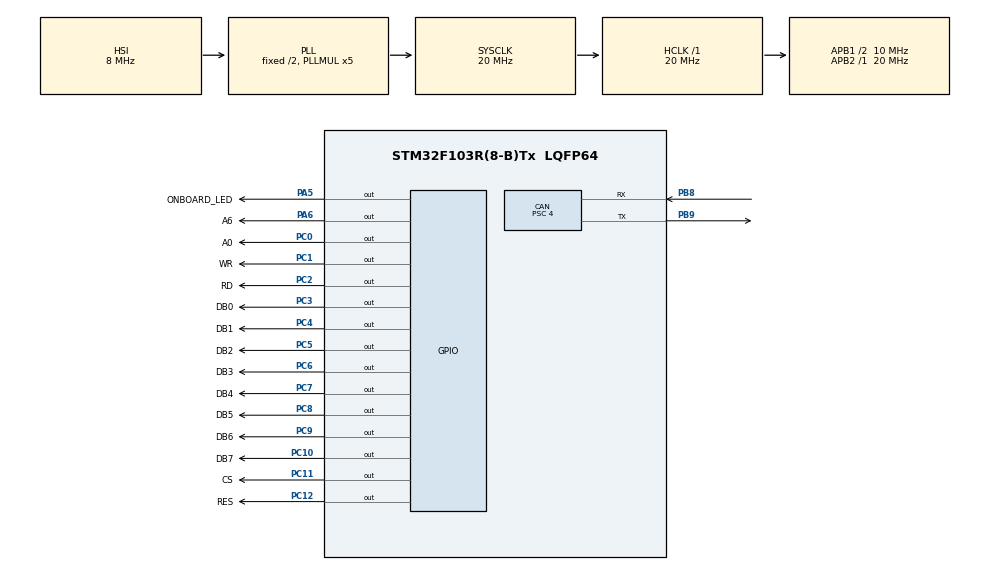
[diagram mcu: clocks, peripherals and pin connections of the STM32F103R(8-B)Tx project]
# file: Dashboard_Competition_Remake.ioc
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CAN.BS1=CAN_BS1_13TQ
CAN.BS2=CAN_BS2_2TQ
CAN.CalculateBaudRate=156250
CAN.CalculateTimeBit=6400
CAN.CalculateTimeQuantum=400.0
CAN.Prescaler=4
Mcu.Family=STM32F1
Mcu.Name=STM32F103R(8-B)Tx
Mcu.Package=LQFP64
NVIC.PriorityGroup=NVIC_PRIORITYGROUP_4
NVIC.TIM2_IRQn=true\:0\:0\:false\:false\:true\:true\:true\:true
NVIC.USB_LP_CAN1_RX0_IRQn=true\:0\:0\:false\:false\:true\:true\:true\:true
PA13.Mode=Serial_Wire
PA13.Signal=SYS_JTMS-SWDIO
PA14.Mode=Serial_Wire
PA14.Signal=SYS_JTCK-SWCLK
PA5.GPIO_Label=ONBOARD_LED
PA5.Signal=GPIO_Output
PA6.GPIO_Label=A6
PA6.Signal=GPIO_Output
PB8.Mode=CAN_Activate
PB8.Signal=CAN_RX
PB9.Mode=CAN_Activate
PB9.Signal=CAN_TX
PC0.GPIO_Label=A0
PC0.PinState=GPIO_PIN_SET
PC0.Signal=GPIO_Output
PC1.GPIO_Label=WR
PC1.PinState=GPIO_PIN_SET
PC1.Signal=GPIO_Output
PC10.GPIO_Label=DB7
PC10.Signal=GPIO_Output
PC11.GPIO_Label=CS
PC11.Signal=GPIO_Output
PC12.GPIO_Label=RES
PC12.PinState=GPIO_PIN_SET
PC12.Signal=GPIO_Output
PC2.GPIO_Label=RD
PC2.PinState=GPIO_PIN_SET
PC2.Signal=GPIO_Output
PC3.GPIO_Label=DB0
PC3.Signal=GPIO_Output
PC4.GPIO_Label=DB1
PC4.Signal=GPIO_Output
PC5.GPIO_Label=DB2
PC5.Signal=GPIO_Output
PC6.GPIO_Label=DB3
PC6.Signal=GPIO_Output
PC7.GPIO_Label=DB4
PC7.Signal=GPIO_Output
PC8.GPIO_Label=DB5
PC8.Signal=GPIO_Output
PC9.GPIO_Label=DB6
PC9.Signal=GPIO_Output
ProjectManager.HeapSize=0x200
ProjectManager.StackSize=0x400
ProjectManager.TargetToolchain=STM32CubeIDE
RCC.AHBFreq_Value=20000000
RCC.APB1CLKDivider=RCC_HCLK_DIV2
RCC.APB1Freq_Value=10000000
RCC.APB1TimFreq_Value=20000000
RCC.APB2Freq_Value=20000000
RCC.APB2TimFreq_Value=20000000
RCC.HCLKFreq_Value=20000000
RCC.PLLMUL=RCC_PLL_MUL5
RCC.SYSCLKFreq_VALUE=20000000
RCC.SYSCLKSource=RCC_SYSCLKSOURCE_PLLCLK
RCC.USBFreq_Value=20000000
TIM2.Period=10000-1
TIM2.Prescaler=1600-1
VP_TIM2_VS_ClockSourceINT.Mode=Internal
board=custom

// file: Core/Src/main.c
/* USER CODE BEGIN Header */
/**
  ******************************************************************************
  * @file           : main.c
  * @brief          : Main program body
  ******************************************************************************
  * @attention
  *
  * Copyright (c) 2022 STMicroelectronics.
  * All rights reserved.
  *
  * This software is licensed under terms that can be found in the LICENSE file
  * in the root directory of this software component.
  * If no LICENSE file comes with this software, it is provided AS-IS.
  *
  ******************************************************************************
  */
/* USER CODE END Header */
#include "main.h"
#include "can.h"
#include "tim.h"
#include "gpio.h"

/* USER CODE BEGIN Includes */
#include "LCD.h"

/* USER CODE END Includes */

/* USER CODE BEGIN PM */

#define TRUE 1
#define FALSE 0

#define MC_BASE 0x500
#define BATT_BASE 0x620
#define ARR_BASE 0x700

#define FILTER_LEN 9

/* USER CODE END PM */

/* USER CODE BEGIN PV */

CAN_FilterTypeDef CAN_filter0;
CAN_FilterTypeDef CAN_filter1;

CAN_RxHeaderTypeDef CAN_rx_header;
uint8_t CAN_rx_data[8];

union {
	float float_var;
	uint8_t chars[4];
}vel;

union {
	float float_var;
	uint8_t chars[4];
}cur;

union {
	float float_var;
	uint8_t chars[4];
} u;

/* USER CODE END PV */

void SystemClock_Config(void);

/* USER CODE BEGIN 0 */

// TIM5 interrupt function for period elapsing (HAL page 1018)
void HAL_TIM_PeriodElapsedCallback(TIM_HandleTypeDef *htim)
{
	// EXPECTED PERIOD: the callback will be invoked every X seconds

	// Check if the correct timer is triggering the interrupt
	if (htim == &htim2)
	{
		// Blink on board LED
		HAL_GPIO_TogglePin(GPIOA, GPIO_PIN_6);
	}
}

/**
 * Initialize Dashboard LED lights
 */
void InitLEDs(void)
{

	RCC->APB2ENR |= 0x1UL << 2; 		//Initialize clock for GPIOA, if it hasn't been initialized yet
	GPIOA->CRL &= 0;
	GPIOA->CRH &= 0;
	GPIOA->CRL |= 0x33330033UL;			//Set pins A1, A4, A5, A6, A7 to be Push-Pull Output, 50Mhz
	GPIOA->CRH |= 0x30033333UL;			//SetBar pins A8, A9, A10 to be Push-Pull Output, 50Mhz

	RCC->APB2ENR |= 0x1;
	AFIO->MAPR |= 0x2 << 24;
	//GPIOA->BSRR = 0xFFFF;

	//GPIOA->BSRR = 0x1 << 11;

	GPIOA->BRR = 0xFFFF;

}

/* USER CODE END 0 */

int main(void)
{
  /* USER CODE BEGIN 1 */

  int32_t tempInt32;
  uint8_t c = 0;
  uint8_t d = 0;

  /* USER CODE END 1 */

  /* MCU Configuration--------------------------------------------------------*/

  /* Reset of all peripherals, Initializes the Flash interface and the Systick. */
  HAL_Init();

  /* Configure the system clock */
  SystemClock_Config();

  /* Initialize all configured peripherals */
  MX_GPIO_Init();
  MX_CAN_Init();
  MX_TIM2_Init();
  /* USER CODE BEGIN 2 */

	// Start timer for using interrupts (HAL page 1015)
	HAL_TIM_Base_Start_IT(&htim2);

  //CanFilterSetup();
  //HAL_CAN_Start(&hcan);

	// Setup System Clock C (Done in MX_GPIO_Init())
//  RCC->APB2ENR &= 0;
//	RCC->APB2ENR |= 0x1UL << 4; // pg146: write to IOPC EN

	//Setup Pins C5 - C12 as OUTPUT (Done in MX_GPIO_Init())
//	GPIOC->CRL &= 0;
//	GPIOC->CRH &= 0;
//	GPIOC->CRL |= 0x33333333UL; //Initialise C0 to C7
//	GPIOC->CRH |= 0x33333UL; //Initialise C8 to C12

	//Set Pin initial values
//	GPIOC->BSRR = 0x1UL << 0;	 // C0 HIGH
//	GPIOC->BSRR = 0x1UL << 1;	 // C1 HIGH
//	GPIOC->BSRR = 0x1UL << 2;	 // C2 HIGH
//	GPIOC->BRR = 0x1UL << 11;	 // C11 LOW
//	GPIOC->BSRR = 0x1UL << 12;   //C12 HIGH

  ScreenSetup();
  HAL_GPIO_WritePin(GPIOA, ONBOARD_LED_Pin, 1);
  HAL_Delay(500);
  HAL_GPIO_WritePin(GPIOA, ONBOARD_LED_Pin, 0);

  //InitLEDs();

  /* USER CODE END 2 */

  /* Infinite loop */
  /* USER CODE BEGIN WHILE */
  while (1)
  {
//	  for(int i = 0; i <=12; i++) {
//		  GPIOC->BRR = 0x1UL << i;
//	  }
//
//	  for(int i = 0; i <=12; i++) {
//		  GPIOC->BSRR = 0x1UL << i;
//		  GPIOC->BRR = 0x1UL << i;
//	  }

//		HAL_GPIO_WritePin(GPIOA, GPIO_PIN_5, 1);
//		HAL_Delay(1000);
//		HAL_GPIO_WritePin(GPIOA, GPIO_PIN_5, 0);
//		HAL_Delay(1000);

//	// Check if message is available
//	if (HAL_CAN_GetRxFifoFillLevel(&hcan, CAN_RX_FIFO0) != 0)
//	{
//		// Populate CAN header and data variables
//		HAL_CAN_GetRxMessage(&hcan, CAN_RX_FIFO0, &CAN_rx_header, CAN_rx_data);
//
//
//		switch(CAN_rx_header.StdId)
//		{
//
//			//Battery: Pack Voltage(For LCD Display). Values are unsigned 16-bit integers in Volts (V). Period: 1s
//			//Battery: Minimum Cell Voltage (For LCD Display). Values are unsigned 8-bit integers in 100mv intervals. Period: 1s
//			//Battery: Maximum Cell Voltage (For LCD Display). Values are unsigned 8-bit integers in 100mv intervals. Period: 1s
//			case BATT_BASE + 3:
//				UpdateScreenParameter(BATTERY_VOLTAGE_XPOS, BATTERY_VOLTAGE_YPOS, (uint16_t) (CAN_rx_data[1] | CAN_rx_data[0] << 8), 0);
//
//				UpdateScreenParameter(BATTERY_MINVOLT_XPOS, BATTERY_MINVOLT_YPOS, (uint8_t) CAN_rx_data[2] / 10, (uint8_t) CAN_rx_data[2] % 10);
//
//				UpdateScreenParameter(BATTERY_MAXVOLT_XPOS, BATTERY_MAXVOLT_YPOS, (uint8_t) CAN_rx_data[4] / 10, (uint8_t) CAN_rx_data[4] % 10);
//
//				//XBeeTransmitCan(&CAN_rx_msg);
//				break;
//
//			//Battery: Pack Current(For LCD Display). Values are signed 16-bit integers in Amperes (A). Period: 1s
//			case BATT_BASE + 4:
//
//				UpdateScreenParameter(BATTERY_CURRENT_XPOS, BATTERY_CURRENT_YPOS, (int16_t) (CAN_rx_data[1] | CAN_rx_data[0] << 8), 0);
//
//				//XBeeTransmitCan(&CAN_rx_msg);
//				break;
//
//			//Battery: Pack Maximum Temperature (For LCD Display). Values are signed 8-bit integers in Celsius (C). Period: 1s
//			case BATT_BASE + 7:
//				UpdateScreenParameter(BATTERY_MAXTEMP_XPOS, BATTERY_MAXTEMP_YPOS, (int8_t) CAN_rx_data[4], 0);
//
//				//XBeeTransmitCan(&CAN_rx_msg);
//				break;
//
//			//Battery: State of Charge (For LCD Display). Values are unsigned 8-bit integers. Period: 1s
//			case BATT_BASE + 6:
//
//				UpdateScreenParameter(BATTERY_CHARGE_XPOS, BATTERY_CHARGE_YPOS, (int8_t) CAN_rx_data[0], 0);
//
//				//This one is different; it is used to set a battery percentage bar
//				//SetBar(0xFF & CAN_rx_data[0], 100, CHARGE_BAR_YPOS);
//
//				//XBeeTransmitCan(&CAN_rx_msg);
//				break;
//
//			//NOT FULLY IMPLEMENTED
//			case BATT_BASE + 30:
//
//				UpdateScreenParameter(BATTERY_SUPPVOLT_XPOS, BATTERY_SUPPVOLT_YPOS, 0, 0);
//
//				break;
//
//			//Motor Drive Unit: Speed (For LCD Display). Values are IEEE 32-bit floating point in m/s. Period: 200ms
//			case MC_BASE + 3:
//
//				u.chars[0] = CAN_rx_data[4];
//				u.chars[1] = CAN_rx_data[5];
//				u.chars[2] = CAN_rx_data[6];
//				u.chars[3] = CAN_rx_data[7];
//
//				u.float_var = u.float_var * -3.6;
//				tempInt32 = (int32_t) u.float_var;
//
//				if (u.float_var < 0)
//				{
//					u.float_var = u.float_var * -1;
//				}
//
//				UpdateScreenParameter(MOTOR_SPEED_XPOS, MOTOR_SPEED_YPOS, tempInt32, ((uint32_t) (u.float_var * 10)) % 10 );
//
//				//send the CAN message once every second
//				if (d == 5)
//				{
//					//XBeeTransmitCan(&CAN_rx_msg);
//					d = 0;
//				}
//				d++;
//
//				break;
//
//			//Motor Drive Unit: Temperature (For LCD Display). Values are IEEE 32-bit floating point in Celsius (C). Period: 1s
//			case MC_BASE + 0xB:
//
//
//				u.chars[0] = CAN_rx_data[0];
//				u.chars[1] = CAN_rx_data[1];
//				u.chars[2] = CAN_rx_data[2];
//				u.chars[3] = CAN_rx_data[3];
//
//				tempInt32 = (int32_t) u.float_var;
//
//				while(u.float_var < 0)
//				{
//					u.float_var = u.float_var * -1;
//				}
//
//				//XBeeTransmitCan(&CAN_rx_msg);
//
//				UpdateScreenParameter(MOTOR_TEMP_XPOS, MOTOR_TEMP_YPOS, tempInt32, ((uint32_t) (u.float_var * 10)) % 10 );
//				break;
//
//			//Motor Drive Unit: Current (For LCD Display). Values are IEEE 32-bit floating point in Amperes(A). Period: 200ms
//			case MC_BASE + 2:
//
//				u.chars[0] = CAN_rx_data[4];
//				u.chars[1] = CAN_rx_data[5];
//				u.chars[2] = CAN_rx_data[6];
//				u.chars[3] = CAN_rx_data[7];
//
//				tempInt32 = (int32_t) u.float_var;
//
//				if (u.float_var < 0)
//				{
//					u.float_var = u.float_var * -1;
//				}
//
//				//Send the CAN message once every second
//				if (c == 5)
//				{
//					//XBeeTransmitCan(&CAN_rx_msg);
//					c = 0;
//				}
//				c++;
//
//				UpdateScreenParameter(MOTOR_CURRENT_XPOS, MOTOR_CURRENT_YPOS, tempInt32, ((uint32_t) (u.float_var * 10)) % 10 );
//				break;
//
//			//DEPRECATED
//			//Array: Maximum Temperature (For LCD Display). Values are 16-bit unsigned integer in Celsius(C). Period: 1s
//			//case ARR_BASE + 2:
//			//
//			//	tempInt32 = CAN_rx_data[6] << 8 | CAN_rx_data[7];
//			//
//			//	UpdateScreenParameter(ARRAY_MAXTEMP_XPOS, ARRAY_MAXTEMP_YPOS, tempInt32, (uint32_t) (tempInt32 / 10) % 10);
//			//
//			//	XBeeTransmitCan(&CAN_rx_msg);
//			//
//			//	break;
//
//			//Battery: Faults, Battery High and Battery Low (For Dashboard Indicator)
//			case BATT_BASE + 2:
//
//				//Turn on LEDs if the appropriate battery fault exists.
//
//				//Battery Low:	A0
//				//Battery Full: A1
//				//Battery Communications Fault: A4
//				//Battery charge over-current: A6
//				//Battery discharge over-current: A7
//				//Battery over-temperature: A8
//				//Battery under-voltage: A9
//				//Battery over-voltage: A10
//
//				GPIOA->BSRR = (CAN_rx_data[6] & 0x3) || \
//							( ( (CAN_rx_data[5] >> 2) & 0x1) << 4 ) || \
//							( ( (CAN_rx_data[5] >> 4) & 0x1F) << 6);
//
//				/*
//				//A10: Check if the high voltage bit is set, meaning battery is full
//				if ( (CAN_rx_data[6] >> 1) & 0x1)
//				{
//					//Reset pp;in A10, turn on LED
//					GPIOA->BSRR = 0x1 << 10;
//				}
//
//				//A9: Check if the low voltage bit is set, meaning battery is low
//				if ( (CAN_rx_data[6] ) & 0x1 )
//				{
//					//Reset pin A9, turn on LED
//					GPIOA->BSRR = 0x1 << 9;
//				}
//
//				//A1: battery over-temperature fault
//				if ( ( CAN_rx_data[5] >> 5 ) & 0x1 )
//				{
//					//Reset pin A1, turn on LED
//					GPIOA->BSRR = 0x1 << 1;
//				}
//
//				//A4: battery discharge over-current fault
//				if ( ( CAN_rx_data[5] >> 4 ) & 0x1 )
//				{
//					//Reset pin A4, turn on LED
//					GPIOA->BSRR = 0x1 << 4;
//				}
//
//				//A6: battery charge over-current fault
//				if ( ( CAN_rx_data[5] >> 3 ) & 0x1 )
//				{
//					//Reset pin A6, turn on LED
//					GPIOA->BSRR = 0x1 << 6;
//				}
//
//				//A8: battery over-voltage fault
//				if ( ( CAN_rx_data[5] >> 7 ) & 0x1 )
//				{
//					//Reset pin A8, turn on LED
//					GPIOA->BSRR = 0x1 << 8;
//				}
//
//				//A7: battery under-voltage fault
//				if ( ( CAN_rx_data[5] >> 6 ) & 0x1 )
//				{
//					//Reset pin A7, turn on LED
//					GPIOA->BSRR = 0x1 << 7;
//				}
//
//				//A11: Communications Fault
//				if ( (CAN_rx_data[5] >> 2) & 0x1)
//				{
//					//Reset pin A11: turn on LED
//					GPIOA->BSRR = 0x1 << 11;
//				}
//
//				//XBeeTransmitCan(&newCanMsg);
//				*/
//
//				break;
//		}
//	}

    /* USER CODE END WHILE */

  }
}

void SystemClock_Config(void)
{
  RCC_OscInitTypeDef RCC_OscInitStruct = {0};
  RCC_ClkInitTypeDef RCC_ClkInitStruct = {0};

  /** Initializes the RCC Oscillators according to the specified parameters
  * in the RCC_OscInitTypeDef structure.
  */
  RCC_OscInitStruct.OscillatorType = RCC_OSCILLATORTYPE_HSI;
  RCC_OscInitStruct.HSIState = RCC_HSI_ON;
  RCC_OscInitStruct.HSICalibrationValue = RCC_HSICALIBRATION_DEFAULT;
  RCC_OscInitStruct.PLL.PLLState = RCC_PLL_ON;
  RCC_OscInitStruct.PLL.PLLSource = RCC_PLLSOURCE_HSI_DIV2;
  RCC_OscInitStruct.PLL.PLLMUL = RCC_PLL_MUL5;
  if (HAL_RCC_OscConfig(&RCC_OscInitStruct) != HAL_OK)
  {
    Error_Handler();
  }

  /** Initializes the CPU, AHB and APB buses clocks
  */
  RCC_ClkInitStruct.ClockType = RCC_CLOCKTYPE_HCLK|RCC_CLOCKTYPE_SYSCLK
                              |RCC_CLOCKTYPE_PCLK1|RCC_CLOCKTYPE_PCLK2;
  RCC_ClkInitStruct.SYSCLKSource = RCC_SYSCLKSOURCE_PLLCLK;
  RCC_ClkInitStruct.AHBCLKDivider = RCC_SYSCLK_DIV1;
  RCC_ClkInitStruct.APB1CLKDivider = RCC_HCLK_DIV2;
  RCC_ClkInitStruct.APB2CLKDivider = RCC_HCLK_DIV1;

  if (HAL_RCC_ClockConfig(&RCC_ClkInitStruct, FLASH_LATENCY_0) != HAL_OK)
  {
    Error_Handler();
  }
}

void Error_Handler(void)
{
  __disable_irq();
  while (1)
  {
  }
}
